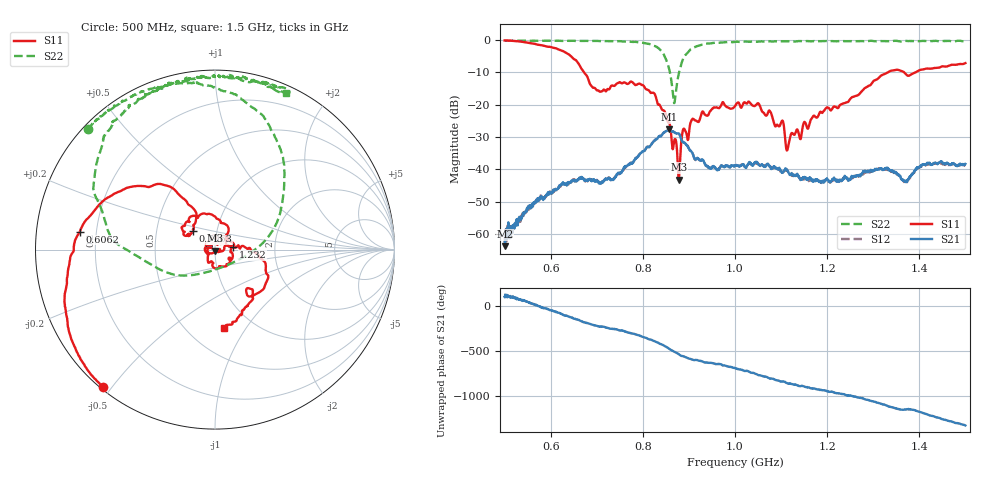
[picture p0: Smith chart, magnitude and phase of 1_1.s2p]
!Agilent Technologies,E8364B,US42250235,A.06.04.32
!Agilent E8364B: A.06.04.32
!Date: Friday, January 15, 2021 16:01:58
!Correction: S11(Full 2 Port(1,2)) S21(Full 2 Port(1,2)) S12(Full 2 Port(1,2)) S22(Full 2 Port(1,2))
!S2P File: Measurements: S11, S21, S12, S22:
# Hz S  dB  R 50
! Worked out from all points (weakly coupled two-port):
!   1601 points, 500 MHz to 1.5 GHz, reference 50 ohm
!   highest |S21| = -27.64 dB at 856.9 MHz (marker M1); lowest = -63.8 dB at 500.6 MHz (marker M2)
!   lowest |S11| = -43.2 dB at 878.1 MHz (marker M3), VSWR 1.01, Z = 50.2 - j0.658 ohm
!   |S11| at or under -10 dB: 672.6 MHz to 1.332 GHz (659 MHz wide, 65.8 % of centre); 1.367 GHz to 1.392 GHz (24.49 MHz wide, 1.78 % of centre)
!   |S22| runs from -19.5 to -0.2 dB; largest |S21 - S12| = 0.0012
!   S11 on the Smith chart (normalised r, x): 500 MHz: 0.01, -0.47; 606.2 MHz: 0.14, +0.06; 706.2 MHz: 0.77, +0.16; 1.232 GHz: 1.22, +0.04; 1.5 GHz: 0.73, -0.80
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5e8  -0.11 -129.3  -62.41 100.5  -59.65 116.2  -0.19 136.5
5.00625e8  -0.11 -129.6  -63.82 95.9  -61.65 113.0  -0.19 136.6
6.0625e8  -2.39 172.4  -46.58 -56.5  -46.20 -58.4  -0.23 125.3
6.66875e8  -8.88 123.1  -42.86 -171.2  -42.70 -171.4  -0.25 118.5
7.0625e8  -15.97 139.7  -44.24 129.7  -44.38 130.5  -0.29 114.3
7.75625e8  -12.92 124.5  -38.22 52.1  -37.92 52.9  -0.55 98.6
8.3375e8  -20.02 52.8  -30.02 -51.8  -29.96 -52.1  -2.46 66.2
8.56875e8  -25.56 8.1  -27.64 -117.7  -27.76 -118.0  -8.86 21.5
8.68125e8  -31.06 3.7  -28.50 -150.4  -28.52 -150.3  -19.52 -69.8
8.78125e8  -43.19 -71.0  -28.90 -179.6  -28.98 -179.5  -10.34 -155.9
8.875e8  -27.64 -160.2  -31.59 159.4  -31.52 159.1  -5.72 178.4
9.075e8  -24.42 143.2  -34.87 120.3  -35.01 120.3  -2.47 153.9
1e9  -20.43 -9.9  -38.84 25.5  -38.71 25.5  -0.55 117.3
1.07625e9  -22.05 -119.7  -39.35 -90.0  -39.01 -89.7  -0.40 106.8
1.1025e9  -24.94 179.5  -40.97 -124.4  -40.95 -123.6  -0.40 104.4
1.11375e9  -34.08 153.5  -40.34 -143.6  -40.42 -142.6  -0.35 102.6
1.166875e9  -24.18 33.7  -43.63 159.8  -43.41 160.8  -0.35 96.6
1.231875e9  -19.83 8.9  -43.34 96.5  -43.41 99.9  -0.31 90.6
1.33375e9  -9.81 -25.4  -40.33 -43.1  -40.17 -42.0  -0.32 80.3
1.37e9  -10.43 -54.2  -43.82 -75.8  -44.10 -77.1  -0.26 77.5
1.4175e9  -8.81 -60.4  -38.15 -130.3  -38.55 -131.8  -0.32 74.0
1.5e9  -7.12 -83.7  -38.34 106.1  -38.82 104.5  -0.35 65.6
